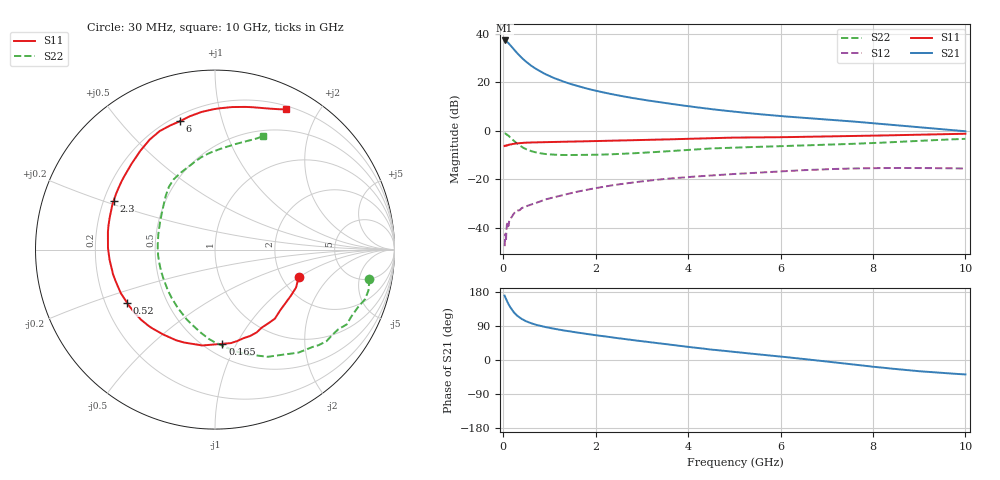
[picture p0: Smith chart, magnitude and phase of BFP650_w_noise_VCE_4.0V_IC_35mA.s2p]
! Infineon Technologies  Discrete & RF Semiconductors
! BFP650
! VCE =  4.0 V,  IC =  35 mA
! Common Emitter S-Parameters:  Jan 2016
# GHz  S  MA  R  50
!  f  S11  S21  S12  S22
! GHz  MAG  ANG  MAG  ANG  MAG  ANG  MAG  ANG
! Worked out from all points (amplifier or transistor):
!   229 points, 30 MHz to 10 GHz, reference 50 ohm
!   highest |S21| = 37.3 dB at 30 MHz (marker M1)
!   |S21| within 3 dB of that: start of sweep to 200.9 MHz
!   unconditionally stable (mu >= 1): 1.998 GHz to end of sweep
!   at 280 MHz: K = 0.41, MSG = 32.8 dB, |S12| = -33.1 dB
!   at 1.78 GHz: K = 0.98, MSG = 21.0 dB, |S12| = -24.4 dB
!   at 10 GHz: K = 1.03, MAG = 6.5 dB, |S12| = -15.5 dB
!   lowest NFmin = 0.81 dB at 450 MHz
!   S11 on the Smith chart (normalised r, x): 30 MHz: 2.48, -0.98; 165 MHz: 0.61, -0.88; 520 MHz: 0.29, -0.26; 2.3 GHz: 0.24, +0.22; 6 GHz: 0.23, +0.74; 10 GHz: 0.24, +1.60
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0.03  0.4911 -17.8  73.39 170.0  0.0042 89.6  0.8756 -10.7
0.04  0.4986 -25.1  73.16 167.0  0.0066 52.0  0.8846 -14.9
0.07  0.4965 -43.1  70.2 158.6  0.0092 55.8  0.8463 -26.1
0.1  0.5066 -59.0  66.55 150.8  0.0131 57.1  0.8082 -35.9
0.13  0.5185 -72.1  61.94 143.7  0.014 54.1  0.7656 -45.3
0.165  0.5264 -85.5  56.82 137.1  0.0157 53.0  0.713 -54.5
0.2  0.5387 -97.5  52.08 130.3  0.0179 53.1  0.665 -63.9
0.24  0.5456 -108.4  46.98 124.5  0.0203 51.7  0.6121 -72.6
0.3  0.5539 -121.3  40.42 117.2  0.0231 46.8  0.5456 -84.1
0.4  0.5678 -136.6  32.19 108.3  0.0256 46.8  0.469 -99.8
0.52  0.5725 -148.8  25.64 101.1  0.0284 47.0  0.4114 -114.1
0.7  0.5805 -161.3  19.26 93.2  0.0325 48.3  0.3623 -131.6
1  0.5902 -174.5  13.55 84.8  0.0404 49.2  0.3285 -151.8
1.3  0.5977 176.3  10.42 78.2  0.0476 48.9  0.319 -166.4
1.7  0.6093 166.4  7.972 70.8  0.0581 47.8  0.319 179.3
2.3  0.627 154.3  5.857 60.7  0.074 44.0  0.329 162.9
3.4  0.6619 135.9  3.887 43.6  0.1 34.2  0.3725 141.0
5.1  0.7296 113.9  2.435 20.1  0.131 18.0  0.457 119.1
6  0.7414 105.2  2.024 9.0  0.1462 10.0  0.484 107.9
6.8  0.7641 97.6  1.78 -1.2  0.1595 1.9  0.5125 100.3
8.4  0.813 77.9  1.338 -22.7  0.1719 -15.4  0.5848 81.8
10  0.8745 63.3  0.984 -38.1  0.1682 -28.0  0.686 67.1
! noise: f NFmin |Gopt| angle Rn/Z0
0.45  0.81  0.09  148  1.85
0.9  0.85  0.32  -170  0.08
1.9  0.98  0.37  -157  0.07
2.4  1.06  0.38  -146  0.07
3.5  1.26  0.4  -123  0.13
